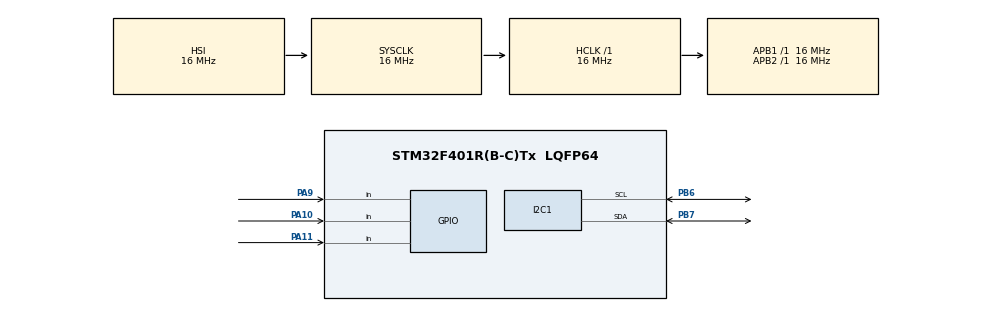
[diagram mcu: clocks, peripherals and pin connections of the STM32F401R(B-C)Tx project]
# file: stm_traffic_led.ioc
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I2C1.I2C_Mode=I2C_Fast
Mcu.Family=STM32F4
Mcu.Name=STM32F401R(B-C)Tx
Mcu.Package=LQFP64
NVIC.PriorityGroup=NVIC_PRIORITYGROUP_4
PA10.Signal=GPIO_Input
PA11.Signal=GPIO_Input
PA9.Signal=GPIO_Input
PB6.Mode=I2C
PB6.Signal=I2C1_SCL
PB7.Mode=I2C
PB7.Signal=I2C1_SDA
ProjectManager.HeapSize=0x200
ProjectManager.StackSize=0x400
ProjectManager.TargetToolchain=STM32CubeIDE
RCC.AHBFreq_Value=16000000
RCC.APB1Freq_Value=16000000
RCC.APB2Freq_Value=16000000
RCC.CortexFreq_Value=16000000
RCC.HSE_VALUE=25000000
RCC.HSI_VALUE=16000000
RCC.LSE_VALUE=32768
RCC.SYSCLKFreq_VALUE=16000000
RCC.VCOOutputFreq_Value=192000000
board=custom

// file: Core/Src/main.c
/* USER CODE BEGIN Header */
/**
  ******************************************************************************
  * @file           : main.c
  * @brief          : Main program body
  ******************************************************************************
  * @attention
  *
  * Copyright (c) 2026 STMicroelectronics.
  * All rights reserved.
  *
  * This software is licensed under terms that can be found in the LICENSE file
  * in the root directory of this software component.
  * If no LICENSE file comes with this software, it is provided AS-IS.
  *
  ******************************************************************************
  */
/* USER CODE END Header */
#include "main.h"

/* USER CODE BEGIN Includes */
#include "../../Drivers/SSD1306/ssd1306.h"
#include "../../Drivers/SSD1306/ssd1306_fonts.h"
#include <stdio.h>
/* USER CODE END Includes */

I2C_HandleTypeDef hi2c1;

void SystemClock_Config(void);
static void MX_GPIO_Init(void);
static void MX_I2C1_Init(void);
/* USER CODE BEGIN PFP */
typedef enum {
    GO_SOUTH, WAIT_SOUTH, CLEAR_SOUTH,
    GO_WEST,  WAIT_WEST,  CLEAR_WEST,
    GO_WALK,  WAIT_WALK,  CLEAR_WALK
} FSM_State;

typedef enum {GREEN, YELLOW, RED} Led;

void Display_Traffic_UI(Led south, Led west, Led walk, uint32_t time);

/* USER CODE END PFP */

/* USER CODE BEGIN 0 */
void Process_Traffic_FSM(uint32_t led_input,
			Led *south_led, Led *west_led, Led *walk_led,
			uint32_t *wait_time) {

    static FSM_State current_state = GO_WALK;

    switch(current_state) {

        case GO_SOUTH:
            *south_led = GREEN; *west_led = RED; *walk_led = RED;
            *wait_time = 12000; // 12s Green
            if ((led_input & 2) || (led_input & 1)) {
                current_state = WAIT_SOUTH;
            }
            break;

        case WAIT_SOUTH:
            *south_led = YELLOW; *west_led = RED; *walk_led = RED;
            *wait_time = 3000; // 3s Yellow
            current_state = CLEAR_SOUTH;
            break;

        case CLEAR_SOUTH:
            *south_led = RED; *west_led = RED; *walk_led = RED;
            *wait_time = 3000; // 3s Clearance

            if (led_input & 2)      current_state = GO_WEST;
            else if (led_input & 1) current_state = GO_WALK;
            else if (led_input & 4) current_state = GO_SOUTH;
            else                    current_state = GO_WALK;
            break;

        case GO_WEST:
            *south_led = RED; *west_led = GREEN; *walk_led = RED;
            *wait_time = 12000; // 12s Green
            if ((led_input & 4) || (led_input & 1)) {
                current_state = WAIT_WEST;
            }
            break;

        case WAIT_WEST:
            *south_led = RED; *west_led = YELLOW; *walk_led = RED;
            *wait_time = 3000; // 3s Yellow
            current_state = CLEAR_WEST;
            break;

        case CLEAR_WEST:
            *south_led = RED; *west_led = RED; *walk_led = RED;
            *wait_time = 3000; // 3s Clearance

            if (led_input & 1)      current_state = GO_WALK;
            else if (led_input & 4) current_state = GO_SOUTH;
            else if (led_input & 2) current_state = GO_WEST;
            else                    current_state = GO_WALK;
            break;

        case GO_WALK:
            *south_led = RED; *west_led = RED; *walk_led = GREEN;
            *wait_time = 12000; // 12s Cross
            if ((led_input & 4) || (led_input & 2)) {
                current_state = WAIT_WALK;
            }
            break;

        case WAIT_WALK:
            *south_led = RED; *west_led = RED; *walk_led = YELLOW;
            *wait_time = 3000; // 3s Warning
            current_state = CLEAR_WALK;
            break;

        case CLEAR_WALK:
            *south_led = RED; *west_led = RED; *walk_led = RED;
            *wait_time = 3000; // 3s Red

            if (led_input & 4)      current_state = GO_SOUTH;
            else if (led_input & 2) current_state = GO_WEST;
            else if (led_input & 1) current_state = GO_WALK;
            else                    current_state = GO_WALK;
            break;
    }
}

void Display_Traffic_UI(Led south, Led west, Led walk, uint32_t time) {
	//convert enum Led -> string to print
		const char *led_names[] = {"GRN", "YLW", "RED"};

	    ssd1306_Fill(Black);

	    //crossroad drawing
	    ssd1306_Line(45, 0, 45, 20, White);
	    ssd1306_Line(83, 0, 83, 20, White);
	    ssd1306_Line(45, 44, 45, 64, White);
	    ssd1306_Line(83, 44, 83, 64, White);

	    ssd1306_Line(0, 20, 45, 20, White);
	    ssd1306_Line(0, 44, 45, 44, White);
	    ssd1306_Line(83, 20, 128, 20, White);
	    ssd1306_Line(83, 44, 128, 44, White);

	    ssd1306_Line(45, 22, 83, 22, White);
	    ssd1306_Line(45, 42, 83, 42, White);

	    char buf[20];
	    //dong ho dem thoi gian sang cua cac led
	    snprintf(buf, sizeof(buf), "S:%s %2lus", led_names[south], time);
	    ssd1306_SetCursor(48, 5);
	    ssd1306_WriteString(buf, Font_6x8, White);

	    snprintf(buf, sizeof(buf), "W:%s %2lus", led_names[west], time);
	    ssd1306_SetCursor(2, 27);
	    ssd1306_WriteString(buf, Font_6x8, White);

	    snprintf(buf, sizeof(buf), "WLK:%s %2lus", led_names[walk], time);
	    ssd1306_SetCursor(48, 50);
	    ssd1306_WriteString(buf, Font_6x8, White);

	    ssd1306_UpdateScreen();
}

/* USER CODE END 0 */

int main(void)
{

  /* MCU Configuration--------------------------------------------------------*/

  /* Reset of all peripherals, Initializes the Flash interface and the Systick. */
  HAL_Init();

  /* Configure the system clock */
  SystemClock_Config();

  /* Initialize all configured peripherals */
  MX_GPIO_Init();
  MX_I2C1_Init();
  /* USER CODE BEGIN 2 */
  ssd1306_Init();
  uint32_t last_tick = HAL_GetTick();
  uint32_t wait_time = 0;
  uint32_t elapsed_time = 0;
  Led south_led;
  Led west_led;
  Led walk_led;
  Display_Traffic_UI(south_led, west_led, walk_led, elapsed_time);

  /* USER CODE END 2 */

  /* Infinite loop */
  while (1)
  {

    /* USER CODE BEGIN 3 */
	  uint32_t current_tick = HAL_GetTick();
	  uint32_t south_input = HAL_GPIO_ReadPin(GPIOA, GPIO_PIN_9);
	  uint32_t west_input = HAL_GPIO_ReadPin(GPIOA, GPIO_PIN_10);
	  uint32_t walk_input = HAL_GPIO_ReadPin(GPIOA, GPIO_PIN_11);
	  uint32_t led_input = (south_input << 2) | (west_input << 1) | walk_input;
	  elapsed_time = current_tick - last_tick;

	  if (elapsed_time >= wait_time) {
	  		  Process_Traffic_FSM(led_input, &south_led, &west_led, &walk_led, &wait_time);
	  		  last_tick = HAL_GetTick();
	  		  elapsed_time = 0; // reset elapsed time for the new state
	  	  }
	  Display_Traffic_UI(south_led, west_led, walk_led, elapsed_time);
  }
  /* USER CODE END 3 */
}

void SystemClock_Config(void)
{
  RCC_OscInitTypeDef RCC_OscInitStruct = {0};
  RCC_ClkInitTypeDef RCC_ClkInitStruct = {0};

  /** Configure the main internal regulator output voltage
  */
  __HAL_RCC_PWR_CLK_ENABLE();
  __HAL_PWR_VOLTAGESCALING_CONFIG(PWR_REGULATOR_VOLTAGE_SCALE2);

  /** Initializes the RCC Oscillators according to the specified parameters
  * in the RCC_OscInitTypeDef structure.
  */
  RCC_OscInitStruct.OscillatorType = RCC_OSCILLATORTYPE_HSI;
  RCC_OscInitStruct.HSIState = RCC_HSI_ON;
  RCC_OscInitStruct.HSICalibrationValue = RCC_HSICALIBRATION_DEFAULT;
  RCC_OscInitStruct.PLL.PLLState = RCC_PLL_NONE;
  if (HAL_RCC_OscConfig(&RCC_OscInitStruct) != HAL_OK)
  {
    Error_Handler();
  }

  /** Initializes the CPU, AHB and APB buses clocks
  */
  RCC_ClkInitStruct.ClockType = RCC_CLOCKTYPE_HCLK|RCC_CLOCKTYPE_SYSCLK
                              |RCC_CLOCKTYPE_PCLK1|RCC_CLOCKTYPE_PCLK2;
  RCC_ClkInitStruct.SYSCLKSource = RCC_SYSCLKSOURCE_HSI;
  RCC_ClkInitStruct.AHBCLKDivider = RCC_SYSCLK_DIV1;
  RCC_ClkInitStruct.APB1CLKDivider = RCC_HCLK_DIV1;
  RCC_ClkInitStruct.APB2CLKDivider = RCC_HCLK_DIV1;

  if (HAL_RCC_ClockConfig(&RCC_ClkInitStruct, FLASH_LATENCY_0) != HAL_OK)
  {
    Error_Handler();
  }
}

static void MX_I2C1_Init(void)
{

  hi2c1.Instance = I2C1;
  hi2c1.Init.ClockSpeed = 400000;
  hi2c1.Init.DutyCycle = I2C_DUTYCYCLE_2;
  hi2c1.Init.OwnAddress1 = 0;
  hi2c1.Init.AddressingMode = I2C_ADDRESSINGMODE_7BIT;
  hi2c1.Init.DualAddressMode = I2C_DUALADDRESS_DISABLE;
  hi2c1.Init.OwnAddress2 = 0;
  hi2c1.Init.GeneralCallMode = I2C_GENERALCALL_DISABLE;
  hi2c1.Init.NoStretchMode = I2C_NOSTRETCH_DISABLE;
  if (HAL_I2C_Init(&hi2c1) != HAL_OK)
  {
    Error_Handler();
  }

}

static void MX_GPIO_Init(void)
{
  GPIO_InitTypeDef GPIO_InitStruct = {0};

  /* GPIO Ports Clock Enable */
  __HAL_RCC_GPIOA_CLK_ENABLE();
  __HAL_RCC_GPIOB_CLK_ENABLE();

  /*Configure GPIO pins : PA9 PA10 PA11 */
  GPIO_InitStruct.Pin = GPIO_PIN_9|GPIO_PIN_10|GPIO_PIN_11;
  GPIO_InitStruct.Mode = GPIO_MODE_INPUT;
  GPIO_InitStruct.Pull = GPIO_NOPULL;
  HAL_GPIO_Init(GPIOA, &GPIO_InitStruct);

}

void Error_Handler(void)
{
  __disable_irq();
  while (1)
  {
  }
}
